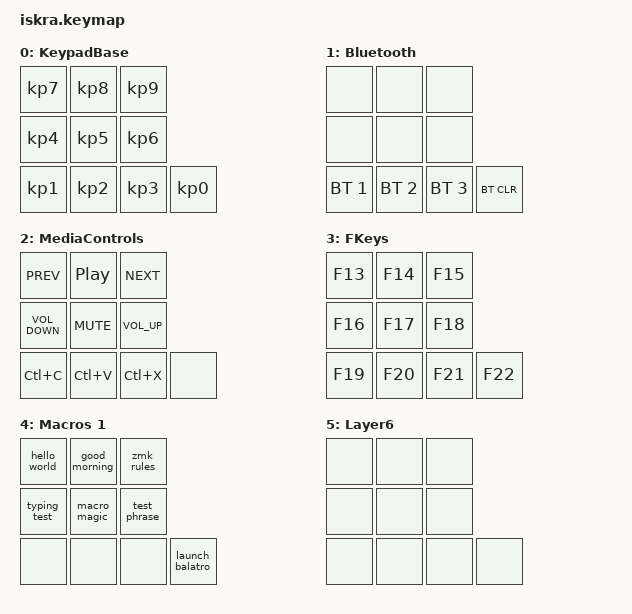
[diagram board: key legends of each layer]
#include <behaviors.dtsi>
#include <dt-bindings/zmk/keys.h>
#include <dt-bindings/zmk/bt.h>



/ {
	macros {
        hello_world: hello_world {
            compatible = "zmk,behavior-macro";
            #binding-cells = <0>;
            bindings = <
                &macro_tap &kp H
                &macro_tap &kp E
                &macro_tap &kp L
                &macro_tap &kp L
                &macro_tap &kp O
                &macro_tap &kp SPACE
                &macro_tap &kp LCTRL
                &macro_tap &kp W
                &macro_tap &kp O
                &macro_tap &kp R
                &macro_tap &kp L
                &macro_tap &kp D
            >;
        };

        good_morning: good_morning {
            compatible = "zmk,behavior-macro";
            #binding-cells = <0>;
            bindings = <
                &macro_tap &kp G
                &macro_tap &kp O
                &macro_tap &kp O
                &macro_tap &kp D
                &macro_tap &kp SPACE
                &macro_tap &kp LCTRL
                &macro_tap &kp M
                &macro_tap &kp O
                &macro_tap &kp R
                &macro_tap &kp N
                &macro_tap &kp I
                &macro_tap &kp N
                &macro_tap &kp G
            >;
        };

        zmk_rules: zmk_rules {
            compatible = "zmk,behavior-macro";
            #binding-cells = <0>;
            bindings = <
                &macro_tap &kp Z
                &macro_tap &kp M
                &macro_tap &kp K
                &macro_tap &kp SPACE
                &macro_tap &kp LCTRL
                &macro_tap &kp R
                &macro_tap &kp U
                &macro_tap &kp L
                &macro_tap &kp E
                &macro_tap &kp S
            >;
        };

        typing_test: typing_test {
            compatible = "zmk,behavior-macro";
            #binding-cells = <0>;
            bindings = <
                &macro_tap &kp T
                &macro_tap &kp Y
                &macro_tap &kp P
                &macro_tap &kp I
                &macro_tap &kp N
                &macro_tap &kp G
                &macro_tap &kp SPACE
                &macro_tap &kp LCTRL
                &macro_tap &kp T
                &macro_tap &kp E
                &macro_tap &kp S
                &macro_tap &kp T
            >;
        };

        macro_magic: macro_magic {
            compatible = "zmk,behavior-macro";
            #binding-cells = <0>;
            bindings = <
                &macro_tap &kp M
                &macro_tap &kp A
                &macro_tap &kp C
                &macro_tap &kp R
                &macro_tap &kp O
                &macro_tap &kp SPACE
                &macro_tap &kp LCTRL
                &macro_tap &kp M
                &macro_tap &kp A
                &macro_tap &kp G
                &macro_tap &kp I
                &macro_tap &kp C
            >;
        };

        test_phrase: test_phrase {
            compatible = "zmk,behavior-macro";
            #binding-cells = <0>;
            bindings = <
                &macro_tap &kp T
                &macro_tap &kp E
                &macro_tap &kp S
                &macro_tap &kp T
                &macro_tap &kp SPACE
                &macro_tap &kp LCTRL
                &macro_tap &kp P
                &macro_tap &kp H
                &macro_tap &kp R
                &macro_tap &kp A
                &macro_tap &kp S
                &macro_tap &kp E
            >;
        };

		launch_balatro: launch_balatro {
    		compatible = "zmk,behavior-macro";
    		#binding-cells = <0>;
    		bindings = <
				&macro_press &kp LCTRL
				&macro_press &kp LALT
				&macro_tap &kp H
				&macro_release &kp LCTRL
				&macro_release &kp LALT
    >;
};
    };
	
	keymap {
		compatible = "zmk,keymap";

		base {
			display-name = "KeypadBase";
			bindings = <
				&kp KP_N7  &kp KP_N8  &kp KP_N9
				&kp KP_N4  &kp KP_N5  &kp KP_N6
				&kp KP_N1  &kp KP_N2  &kp KP_N3  &kp KP_N0
			>;
		};

		bt_layer {
			display-name = "Bluetooth";
			bindings = <
				&none &none &none
				&none &none &none
				&bt BT_SEL 1 &bt BT_SEL 2 &bt BT_SEL 3 &bt BT_CLR
			>;
		};

		media_layer {
			display-name = "MediaControls";
			bindings = <
				&kp C_PREV &kp C_PLAY_PAUSE &kp C_NEXT
				&kp C_VOLUME_DOWN &kp C_MUTE &kp C_VOLUME_UP
				&kp LC(C) &kp LC(V) &kp LC(X) &none
			>;
		};

		fkeys_layer {
			display-name = "FKeys";
			bindings = <
				&kp F13 &kp F14 &kp F15
				&kp F16 &kp F17 &kp F18
				&kp F19 &kp F20 &kp F21 &kp F22
			>;
		};

		macro_layer1 {
			display-name = "Macros 1";
			bindings = <
				&hello_world &good_morning &zmk_rules
				&typing_test &macro_magic &test_phrase
				&none &none &none &launch_balatro
			>;
		};

		layer6 {
			display-name = "Layer6";
			bindings = <
				&none &none &none
				&none &none &none
				&none &none &none &none
			>;
		};
	};

	combos {
		compatible = "zmk,combos";
		combo_base: combo_base { timeout-ms = <150>; key-positions = <0 9>; bindings = <&to 0>; };
		combo_bt: combo_bt { timeout-ms = <150>; key-positions = <1 9>; bindings = <&to 1>; };
		combo_media: combo_media { timeout-ms = <150>; key-positions = <2 9>; bindings = <&to 2>; };
		combo_fkeys: combo_fkeys { timeout-ms = <150>; key-positions = <3 9>; bindings = <&to 3>; };
		combo_l5: combo_l5 { timeout-ms = <150>; key-positions = <4 9>; bindings = <&to 4>; };
		combo_l6: combo_l6 { timeout-ms = <150>; key-positions = <5 9>; bindings = <&to 5>; };
		combo_studio_unlock: combo_studio_unlock { timeout-ms = <150>; key-positions = <0 1>; bindings = <&studio_unlock>; };
	};
};

